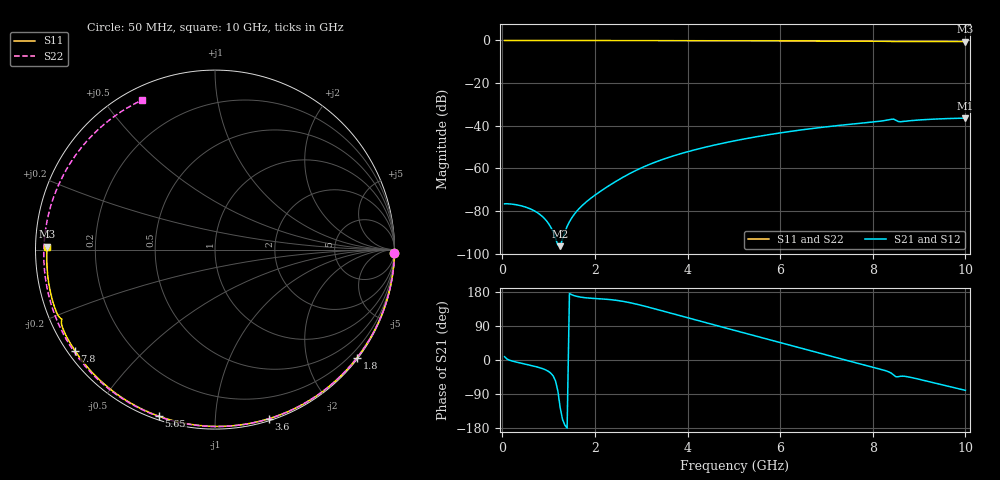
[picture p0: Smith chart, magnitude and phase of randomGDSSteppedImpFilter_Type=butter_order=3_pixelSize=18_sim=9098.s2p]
! freq	dB(S11)	phase(S11)	dB(S12)	phase(S12)
!  dB(S21)	phase(S21)	dB(S22)	phase(S22)
!S-par simulation data
#  GHz  S  DB  R 50
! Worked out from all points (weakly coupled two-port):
!   200 points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, 50 MHz to 10 GHz, reference 50 ohm
!   highest |S21| = -36.40 dB at 10 GHz (marker M1); lowest = -96.4 dB at 1.25 GHz (marker M2)
!   lowest |S11| = -0.6 dB at 10 GHz (marker M3), VSWR 29.86, Z = 1.67 + j0.455 ohm
!   |S11| at or under -10 dB: nowhere
!   |S22| runs from -0.7 to 0.0 dB; largest |S21 - S12| = 0
!   S11 on the Smith chart (normalised r, x): 50 MHz: open; 1.8 GHz: 0.03, -2.96; 3.6 GHz: 0.02, -1.37; 5.65 GHz: 0.02, -0.72; 7.8 GHz: 0.02, -0.32; 10 GHz: 0.03, +0.01
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0.05  -0.00 -1.1  -76.57 8.6  -76.57 8.6  -0.00 -1.2
0.4  -0.01 -8.5  -77.45 -8.2  -77.45 -8.2  -0.01 -9.9
0.7  -0.02 -14.7  -79.95 -16.7  -79.95 -16.7  -0.01 -17.3
1.25  -0.03 -26.1  -96.41 -125.5  -96.41 -125.5  -0.04 -30.7
1.6  -0.04 -33.3  -80.23 168.2  -80.23 168.2  -0.05 -39.1
1.75  -0.05 -36.3  -76.86 164.9  -76.86 164.9  -0.06 -42.7
1.8  -0.05 -37.3  -75.90 164.2  -75.90 164.2  -0.06 -43.9
2.15  -0.06 -44.3  -70.25 161.2  -70.25 161.2  -0.07 -52.2
2.6  -0.07 -53.2  -64.18 154.9  -64.18 154.9  -0.08 -62.7
3.4  -0.09 -68.5  -56.24 131.5  -56.24 131.5  -0.11 -80.9
3.6  -0.10 -72.3  -54.75 124.8  -54.75 124.8  -0.12 -85.4
4.3  -0.12 -85.1  -50.47 101.7  -50.47 101.7  -0.15 -101.0
5.05  -0.15 -98.3  -46.89 77.0  -46.89 77.0  -0.18 -117.4
5.65  -0.18 -108.6  -44.53 57.3  -44.53 57.3  -0.22 -130.6
6.7  -0.24 -126.2  -41.25 22.9  -41.25 22.9  -0.30 -154.1
7.25  -0.29 -135.2  -39.87 5.0  -39.87 5.0  -0.36 -167.0
7.8  -0.33 -144.3  -38.65 -12.5  -38.65 -12.5  -0.41 179.5
8.35  -0.43 -153.6  -37.17 -31.5  -37.17 -31.5  -0.47 165.3
8.45  -0.53 -155.3  -36.88 -39.7  -36.88 -39.7  -0.48 162.6
8.6  -0.48 -156.8  -38.08 -42.9  -38.08 -42.9  -0.50 158.5
9.15  -0.48 -166.3  -37.06 -55.2  -37.06 -55.2  -0.57 142.8
10  -0.58 179.0  -36.40 -80.1  -36.40 -80.1  -0.66 116.1
